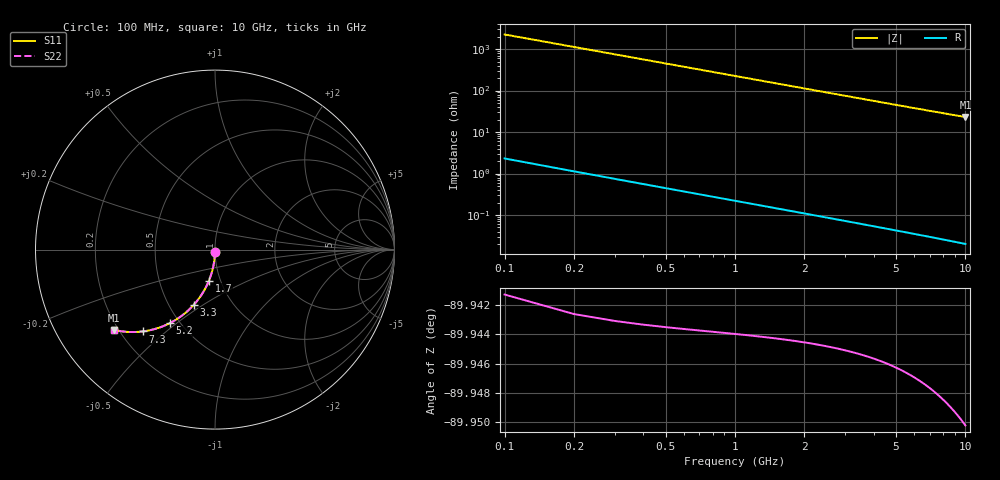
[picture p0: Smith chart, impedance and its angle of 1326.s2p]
# Hz S RI R 50.00
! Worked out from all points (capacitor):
!   100 points, 100 MHz to 10 GHz, reference 50 ohm
!   read as one part in shunt: C = 706 fF near 100 MHz
!   lowest |Z| = 23.1 ohm at 10 GHz (marker M1)
!   S11 on the Smith chart (normalised r, x): 100 MHz: 1.00, -0.02; 1.7 GHz: 0.88, -0.32; 3.3 GHz: 0.66, -0.46; 5.2 GHz: 0.44, -0.47; 7.3 GHz: 0.29, -0.42; 10 GHz: 0.18, -0.34
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1e8  -4.4e-05 -0.0106  0.9998 -0.0116  0.9998 -0.0116  -4.4e-05 -0.0106
2e8  -0.000423 -0.0213  0.9994 -0.0231  0.9994 -0.0231  -0.000423 -0.0213
3e8  -0.00105 -0.0319  0.9988 -0.0346  0.9988 -0.0346  -0.00105 -0.0319
4e8  -0.00191 -0.0425  0.9979 -0.0461  0.9979 -0.0461  -0.00191 -0.0425
5e8  -0.00303 -0.053  0.9968 -0.0576  0.9968 -0.0576  -0.00303 -0.053
6e8  -0.00438 -0.0635  0.9954 -0.069  0.9954 -0.069  -0.00438 -0.0635
8e8  -0.0078 -0.0844  0.992 -0.0918  0.992 -0.0918  -0.0078 -0.0844
1.1e9  -0.0147 -0.1153  0.9851 -0.1254  0.9851 -0.1254  -0.0147 -0.1153
1.4e9  -0.0236 -0.1454  0.9761 -0.1582  0.9761 -0.1582  -0.0236 -0.1454
1.7e9  -0.0345 -0.1745  0.9652 -0.1902  0.9652 -0.1902  -0.0345 -0.1745
1.8e9  -0.0385 -0.184  0.9612 -0.2006  0.9612 -0.2006  -0.0385 -0.184
2.1e9  -0.0517 -0.2117  0.9479 -0.2311  0.9479 -0.2311  -0.0517 -0.2117
2.5e9  -0.0719 -0.2466  0.9277 -0.2697  0.9277 -0.2697  -0.0719 -0.2466
3.3e9  -0.1192 -0.3086  0.8801 -0.3392  0.8801 -0.3392  -0.1192 -0.3086
3.4e9  -0.1257 -0.3156  0.8737 -0.3471  0.8737 -0.3471  -0.1257 -0.3156
4.2e9  -0.1804 -0.3649  0.8187 -0.4039  0.8187 -0.4039  -0.1804 -0.3649
5.1e9  -0.2458 -0.4067  0.7528 -0.4542  0.7528 -0.4542  -0.2458 -0.4067
5.2e9  -0.2532 -0.4105  0.7454 -0.459  0.7454 -0.459  -0.2532 -0.4105
6.7e9  -0.362 -0.4489  0.6358 -0.5119  0.6358 -0.5119  -0.362 -0.4489
7.3e9  -0.4033 -0.4559  0.5941 -0.5247  0.5941 -0.5247  -0.4033 -0.4559
8.4e9  -0.4739 -0.459  0.5227 -0.5387  0.5227 -0.5387  -0.4739 -0.459
1e10  -0.5632 -0.4473  0.432 -0.5431  0.432 -0.5431  -0.5632 -0.4473
